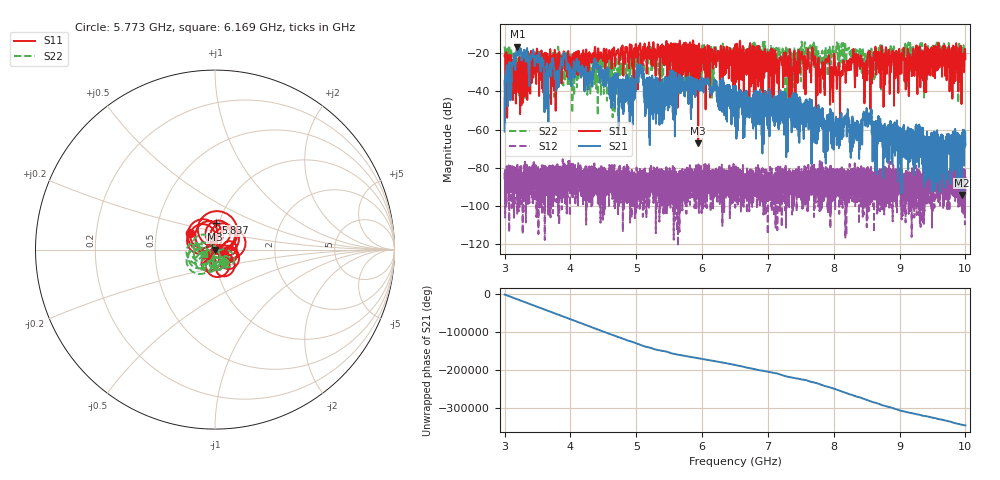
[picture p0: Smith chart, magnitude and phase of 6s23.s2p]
!Agilent Technologies,E8363B,MY43030572,A.06.04.32
!Agilent E8363B: A.06.04.32
!Date: Tuesday, June 07, 2011 08:39:25
!Correction: S11(Full 2 Port(1,2)) S21(Full 2 Port(1,2)) S12(Full 2 Port(1,2)) S22(Full 2 Port(1,2))
!S2P File: Measurements: S11, S21, S12, S22:
# Hz S  dB  R 50
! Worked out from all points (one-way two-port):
!   6401 points, 3 GHz to 10 GHz, reference 50 ohm
!   highest |S21| = -16.63 dB at 3.194 GHz (marker M1); lowest = -94.2 dB at 9.947 GHz (marker M2)
!   lowest |S11| = -67.1 dB at 5.941 GHz (marker M3), VSWR 1.00, Z = 50 - j0.035 ohm
!   |S11| at or under -10 dB: start of sweep to end of sweep
!   |S22| runs from -53.9 to -13.7 dB; largest |S21 - S12| = 0.15
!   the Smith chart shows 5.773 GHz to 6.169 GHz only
!   S11 on the Smith chart (normalised r, x): 5.773 GHz: 0.74, +0.15; 5.837 GHz: 0.96, +0.29; 6.169 GHz: 0.91, -0.06
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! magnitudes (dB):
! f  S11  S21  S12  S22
! 3 GHz  -21.5  -34.4  -82.6  -16.6
! 3.194 GHz  -30.3  -16.6  -77.5  -35.6
! 3.552 GHz  -23.0  -24.1  -87.1  -22.9
! 3.633 GHz  -25.2  -28.5  -92.5  -20.4
! 3.899 GHz  -19.0  -19.7  -87.8  -23.4
! 4.167 GHz  -21.3  -27.8  -83.6  -25.0
! 4.916 GHz  -21.5  -42.2  -92.1  -23.1
! 5.048 GHz  -17.4  -27.4  -88.5  -24.8
! 5.334 GHz  -19.4  -39.1  -83.1  -26.7
! 5.773 GHz  -15.4  -34.2  -93.5  -21.5
! 5.837 GHz  -16.5  -32.7  -89.8  -26.7
! 5.941 GHz  -67.1  -36.5  -82.7  -28.4
! 6.169 GHz  -24.8  -40.0  -91.3  -23.7
! 6.5 GHz  -18.6  -58.2  -86.6  -22.6
! 7.667 GHz  -19.3  -44.4  -77.8  -17.1
! 7.904 GHz  -23.6  -59.7  -86.4  -28.9
! 7.967 GHz  -27.6  -54.2  -85.3  -20.6
! 8.368 GHz  -20.8  -56.1  -96.8  -20.8
! 8.531 GHz  -21.4  -51.9  -91.6  -21.2
! 8.834 GHz  -19.1  -65.4  -88.8  -21.3
! 9.947 GHz  -21.7  -94.2  -90.6  -17.1
! 10 GHz  -23.1  -68.1  -87.6  -21.4
